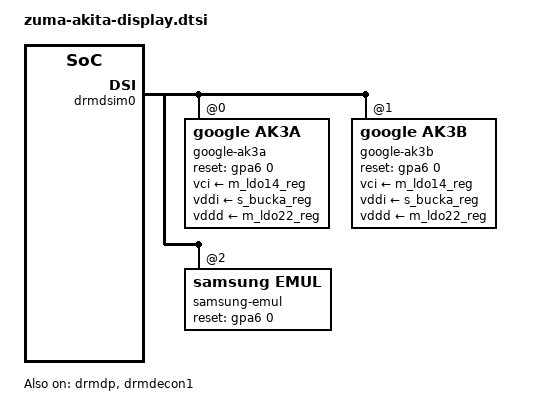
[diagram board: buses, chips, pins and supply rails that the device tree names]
// SPDX-License-Identifier: GPL-2.0-only
/*
 * Display nodes for slider-related boards.
 *
 * Copyright 2022 Google LLC
 *
 */

#include <dt-bindings/gpio/gpio.h>

&dsim_modes {
	dsim-modes {
		1080x2400 {
			mode-name = "1080x2400";
			pmsk = <
				0x2 0xB3 0x2 0x5CAB /* p m s k */
				>;
			hs-clk = <1102>;
			esc-clk = <20>;
		};
	};
};

&drmdsim0 {
	#address-cells = <1>;
	#size-cells = <0>;

	google_ak3a: panel@0 {
		compatible = "google,ak3a";
		label = "google-ak3a";
		touch = <&spitouch>;
		channel = <0>;

		/* reset, power */
		reset-gpios = <&gpa6 0 GPIO_ACTIVE_HIGH>;
		vci-supply = <&m_ldo14_reg>;
		vddi-supply = <&s_bucka_reg>;
		vddd-supply = <&m_ldo22_reg>;
	};

	google_ak3b: panel@1 {
		compatible = "google,ak3b";
		label = "google-ak3b";
		touch = <&spitouch>;
		channel = <0>;

		/* reset, power */
		reset-gpios = <&gpa6 0 GPIO_ACTIVE_HIGH>;
		vci-supply = <&m_ldo14_reg>;
		vddi-supply = <&s_bucka_reg>;
		vddd-supply = <&m_ldo22_reg>;
	};

	panel@2 {
		compatible = "samsung,emul";
		label = "samsung-emul";
		channel = <0>;

		/* reset, power */
		reset-gpios = <&gpa6 0 GPIO_ACTIVE_HIGH>;
	};
};

&drmdsim1 {
	status = "disabled";
};

&drmdp {
	status = "okay";
};

&drmdecon1 {
	status = "okay";
	connector = <0x10>;
};
